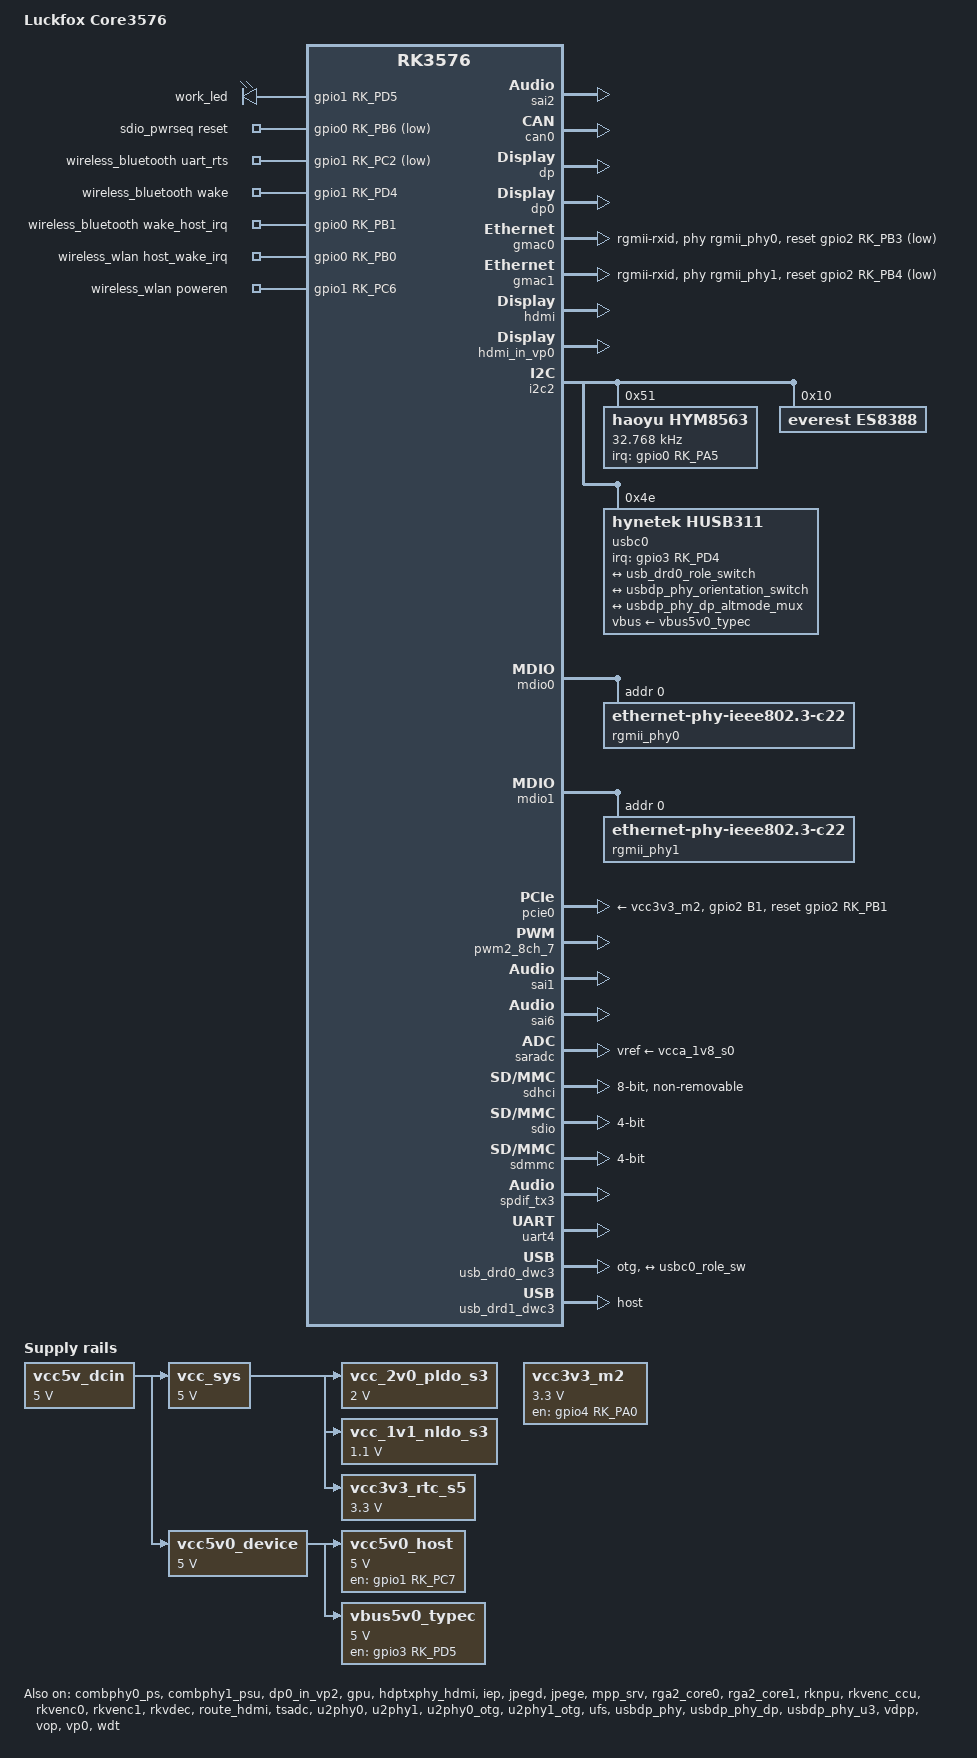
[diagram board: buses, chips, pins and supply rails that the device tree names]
// SPDX-License-Identifier: (GPL-2.0+ OR MIT)
/*
 * Copyright (c) 2024 Rockchip Electronics Co., Ltd.
 * Copyright (c) 2026 Byte Lab Grupa d.o.o.
 */

/dts-v1/;

#include <dt-bindings/display/rockchip_vop.h>
#include <dt-bindings/gpio/gpio.h>
#include <dt-bindings/leds/common.h>
#include <dt-bindings/pinctrl/rockchip.h>
#include <dt-bindings/pwm/pwm.h>
#include <dt-bindings/usb/pd.h>

#include "rk3576.dtsi"
#include "rk3576-rk806.dtsi"
#include "rk3576-linux.dtsi"
#include "rk3576-luckfox-omni3576-camera.dtsi"

/ {
	model = "Luckfox Core3576";
	compatible = "luckfox,core3576","rockchip,rk3576";

	/delete-node/ chosen;

    	es8388_sound: es8388-sound {
		status = "okay";
		compatible = "rockchip,multicodecs-card";
		rockchip,card-name = "rockchip-es8388";
		rockchip,format = "i2s";
		rockchip,mclk-fs = <256>;
		rockchip,cpu = <&sai1>;
		rockchip,codec = <&es8388>;
		rockchip,audio-routing =
			"Headphone", "LOUT1",
			"Headphone", "ROUT1",
			"Speaker", "LOUT1",
			"Speaker", "ROUT1",
			"LINPUT2", "Main Mic",
			"RINPUT2", "Main Mic",
			"LINPUT2", "Headset Mic",
			"RINPUT2", "Headset Mic";
	};

	/*
	dp0_sound: dp0-sound {
		compatible = "rockchip,hdmi";
		rockchip,mclk-fs = <512>;
		rockchip,card-name = "rockchip-dp0";
		rockchip,cpu = <&spdif_tx3>;
		rockchip,codec = <&dp0 1>;
		rockchip,jack-det;
	};

	es8388_sound: es8388-sound {
		status = "okay";
		compatible = "simple-audio-card";
		simple-audio-card,format = "i2s";
		simple-audio-card,mclk-fs = <256>;
		simple-audio-card,name = "rockchip,es8388-codec";
		simple-audio-card,dai-link@0 {
			format = "i2s";
			cpu {
				sound-dai = <&sai1>;
			};
			codec {
				sound-dai = <&es8388>;
			};
		};
	};

	hdmi_sound: hdmi-sound {
		compatible = "rockchip,hdmi";
		rockchip,mclk-fs = <128>;
		rockchip,card-name = "rockchip-hdmi";
		rockchip,cpu = <&sai6>;
		rockchip,codec = <&hdmi>;
		rockchip,jack-det;
	};
	 */

	leds: leds {
		compatible = "gpio-leds";
		work_led: work{
			gpios = <&gpio1 RK_PD5 GPIO_ACTIVE_HIGH>;
			linux,default-trigger = "activity";
			default-state = "on";
		};
	};


	sdio_pwrseq: sdio-pwrseq {
		compatible = "mmc-pwrseq-simple";
		pinctrl-names = "default";
		pinctrl-0 = <&wifi_poweren_gpio>;

		/*
		 * On the module itself this is one of these (depending
		 * on the actual card populated):
		 * - SDIO_RESET_L_WL_REG_ON
		 * - PDN (power down when low)
		 */
		post-power-on-delay-ms = <200>;
		reset-gpios = <&gpio1 RK_PC6 GPIO_ACTIVE_LOW>;
	};

	sdio_pwrseq: sdio-pwrseq {
		compatible = "mmc-pwrseq-simple";
		pinctrl-names = "default";
		pinctrl-0 = <&wifi_poweren_gpio>;

		/*
		 * On the module itself this is one of these (depending
		 * on the actual card populated):
		 * - SDIO_RESET_L_WL_REG_ON
		 * - PDN (power down when low)
		 */
		post-power-on-delay-ms = <200>;
		reset-gpios = <&gpio0 RK_PB6 GPIO_ACTIVE_LOW>;
		status = "okay";
	};

	vcc5v_dcin: vcc5v-dcin {
		compatible = "regulator-fixed";
		regulator-name = "vcc5v_dcin";
		regulator-always-on;
		regulator-boot-on;
		regulator-min-microvolt = <5000000>;
		regulator-max-microvolt = <5000000>;
	};

	vcc_sys: vcc5v0-sys {
		compatible = "regulator-fixed";
		regulator-name = "vcc_sys";
		regulator-always-on;
		regulator-boot-on;
		regulator-min-microvolt = <5000000>;
		regulator-max-microvolt = <5000000>;
		vin-supply = <&vcc5v_dcin>;
	};

	vcc5v0_host: vcc5v0-host {
		compatible = "regulator-fixed";
		regulator-name = "vcc5v0_host";
		regulator-boot-on;
		regulator-always-on;
		regulator-min-microvolt = <5000000>;
		regulator-max-microvolt = <5000000>;
		enable-active-high;
		gpio = <&gpio1 RK_PC7 GPIO_ACTIVE_HIGH>;
		vin-supply = <&vcc5v0_device>;
		pinctrl-names = "default";
		pinctrl-0 = <&usb_host_pwren>;
	};

	vcc5v0_device: vcc5v0-device {
		compatible = "regulator-fixed";
		regulator-name = "vcc5v0_device";
		regulator-always-on;
		regulator-boot-on;
		regulator-min-microvolt = <5000000>;
		regulator-max-microvolt = <5000000>;
		vin-supply = <&vcc5v_dcin>;
	};

	vbus5v0_typec: vbus5v0-typec {
		compatible = "regulator-fixed";
		regulator-name = "vbus5v0_typec";
		regulator-min-microvolt = <5000000>;
		regulator-max-microvolt = <5000000>;
		enable-active-high;
		gpio = <&gpio3 RK_PD5 GPIO_ACTIVE_HIGH>;
		vin-supply = <&vcc5v0_device>;
		pinctrl-names = "default";
		pinctrl-0 = <&usb_otg0_pwren>;
	};

	vcc_2v0_pldo_s3: vcc-2v0-pldo-s3 {
		compatible = "regulator-fixed";
		regulator-name = "vcc_2v0_pldo_s3";
		regulator-boot-on;
		regulator-always-on;
		regulator-min-microvolt = <2000000>;
		regulator-max-microvolt = <2000000>;
		vin-supply = <&vcc_sys>;
	};

	vcc_1v1_nldo_s3: vcc-1v1-nldo-s3 {
		compatible = "regulator-fixed";
		regulator-name = "vcc_1v1_nldo_s3";
		regulator-boot-on;
		regulator-always-on;
		regulator-min-microvolt = <1100000>;
		regulator-max-microvolt = <1100000>;
		vin-supply = <&vcc_sys>;
	};

	vcc3v3_rtc_s5: vcc3v3-rtc-s5 {
		compatible = "regulator-fixed";
		regulator-name = "vcc3v3_rtc_s5";
		regulator-boot-on;
		regulator-always-on;
		regulator-min-microvolt = <3300000>;
		regulator-max-microvolt = <3300000>;
		vin-supply = <&vcc_sys>;
	};

	vcc3v3_m2: vcc3v3-m2 {
		compatible = "regulator-fixed";
		regulator-name = "vcc3v3_m2";
		gpio = <&gpio4 RK_PA0 GPIO_ACTIVE_HIGH>;
		pinctrl-names = "default";
		pinctrl-0 = <&pcie_poweren_gpio>;
		enable-active-high;
		regulator-always-on;
		regulator-boot-on;
		regulator-min-microvolt = <3300000>;
		regulator-max-microvolt = <3300000>;
		startup-delay-us = <1000>;
	};

	wireless_bluetooth: wireless-bluetooth {
		compatible = "bluetooth-platdata";
		uart_rts_gpios = <&gpio1 RK_PC2 GPIO_ACTIVE_LOW>;
		pinctrl-names = "default", "rts_gpio";
		pinctrl-0 = <&uart4m1_rtsn>;
		pinctrl-1 = <&uart4_gpios>;
		BT,wake_gpio     = <&gpio1 RK_PD4 GPIO_ACTIVE_HIGH>;
		BT,wake_host_irq = <&gpio0 RK_PB1 GPIO_ACTIVE_HIGH>;
		status = "okay";
	};

	wireless_wlan: wireless-wlan {
		compatible = "wlan-platdata";
		pinctrl-names = "default";
		pinctrl-0 = <&wifi_host_wake_irq &wifi_poweren_gpio>;
		WIFI,host_wake_irq = <&gpio0 RK_PB0 GPIO_ACTIVE_HIGH>; // WIFI_WAKE_HOST_H
		WIFI,poweren_gpio = <&gpio1 RK_PC6 GPIO_ACTIVE_HIGH>;

		status = "okay";
	};
	bt_sco: bt-sco {
		status = "okay";

		compatible = "delta,dfbmcs320";
		#sound-dai-cells = <1>;
	};

	bt_sound: bt-sound {
		status = "okay";

		compatible = "simple-audio-card";
		simple-audio-card,format = "dsp_a";
		simple-audio-card,mclk-fs = <256>;
		simple-audio-card,name = "rockchip,bt";
		simple-audio-card,cpu {
			sound-dai = <&sai2>;
		};
		simple-audio-card,codec {
			sound-dai = <&bt_sco 1>;
		};
	};
};

&sai2 {
	status = "okay";
};

&can0 {
	assigned-clocks = <&cru CLK_CAN0>;
	assigned-clock-rates = <200000000>;
	pinctrl-names = "default";
	pinctrl-0 = <&can0m2_pins>;
	status = "okay";
};

&combphy0_ps {
	status = "okay";
};

&combphy1_psu {
	status = "okay";
};

&combphy0_ps {
	status = "okay";
};

&combphy1_psu {
	status = "okay";
};

&cpu_l0 {
	cpu-supply = <&vdd_cpu_lit_s0>;
};

&cpu_b0 {
	cpu-supply = <&vdd_cpu_big_s0>;
};

&display_subsystem {
	clocks = <&hdptxphy_hdmi>;
	clock-names = "hdmi0_phy_pll";
};

&dp {
	status = "okay";
};

&dp0 {
	status = "okay";
};

&dp0_in_vp2 {
	status = "okay";
};

&gmac0 {
	/* Use rgmii-rxid mode to disable rx delay inside Soc */
	phy-mode = "rgmii-rxid";
	clock_in_out = "output";

	snps,reset-gpio = <&gpio2 RK_PB3 GPIO_ACTIVE_LOW>;
	snps,reset-active-low;
	/* Reset time is 20ms, 100ms for rtl8211f */
	snps,reset-delays-us = <0 20000 100000>;

	pinctrl-names = "default";
	pinctrl-0 = <&eth0m0_miim
			 &eth0m0_tx_bus2
			 &eth0m0_rx_bus2
			 &eth0m0_rgmii_clk
			 &eth0m0_rgmii_bus
			 &ethm0_clk0_25m_out>;

	tx_delay = <0x20>;
	/* rx_delay = <0x3f>; */

	phy-handle = <&rgmii_phy0>;
	status = "okay";
};

&gmac1 {
	/* Use rgmii-rxid mode to disable rx delay inside Soc */
	phy-mode = "rgmii-rxid";
	clock_in_out = "output";

	snps,reset-gpio = <&gpio2 RK_PB4 GPIO_ACTIVE_LOW>;
	snps,reset-active-low;
	/* Reset time is 20ms, 100ms for rtl8211f */
	snps,reset-delays-us = <0 20000 100000>;

	pinctrl-names = "default";
	pinctrl-0 = <&eth1m0_miim
		     &eth1m0_tx_bus2
		     &eth1m0_rx_bus2
		     &eth1m0_rgmii_clk
		     &eth1m0_rgmii_bus
		     &ethm0_clk1_25m_out>;

	tx_delay = <0x20>;
	/* rx_delay = <0x3f>; */

	phy-handle = <&rgmii_phy1>;
	status = "okay";
};

&gpu {
	mali-supply = <&vdd_gpu_s0>;
	status = "okay";
};

&hdmi {
	enable-gpios = <&gpio4 RK_PC6 GPIO_ACTIVE_HIGH>;
	rockchip,sda-falling-delay-ns = <360>;
	status = "okay";

};

&hdmi_in_vp0 {
	status = "okay";
};

&hdptxphy_hdmi {
	status = "okay";
};

/*
&i2c0 {
	status = "okay";
	pinctrl-0 = <&i2c0m1_xfer>;
	usbc1: fusb302@22 {
		compatible = "fcs,fusb302";
		reg = <0x22>;
		interrupt-parent = <&gpio0>;
		interrupts = <RK_PC3 IRQ_TYPE_LEVEL_LOW>;
		int-n-gpios = <&gpio0 RK_PC3 GPIO_ACTIVE_LOW>;
		pinctrl-names = "default";
		pinctrl-0 = <&usbc1_int>;
		vbus-supply = <&vbus5v0_typec>;
		status = "okay";
		usb_con1: connector {
			compatible = "usb-c-connector";
			label = "USB-C";
			data-role = "dual";
			power-role = "dual";
			try-power-role = "sink";
			op-sink-microwatt = <1000000>;
			sink-pdos =
				<PDO_FIXED()
				 PDO_FIXED(9000, 3000, PDO_FIXED_USB_COMM)
				 PDO_FIXED(12000, 3000, PDO_FIXED_USB_COMM)>;
			source-pdos =
				<PDO_FIXED(5000, 3000, PDO_FIXED_USB_COMM)>;
			altmodes {
				#address-cells = <1>;
				#size-cells = <0>;
				altmode@0 {
					reg = <0>;
					svid = <0xff01>;
					vdo = <0xffffffff>;
				};
			};
		};
	};
};
 */


&i2c2 {
	status = "okay";
	pinctrl-0 = <&i2c2m0_xfer>;

	hym8563: hym8563@51 {
		compatible = "haoyu,hym8563";
		reg = <0x51>;
		#clock-cells = <0>;
		clock-frequency = <32768>;
		clock-output-names = "hym8563";
		pinctrl-names = "default";
		pinctrl-0 = <&hym8563_int>;
		interrupt-parent = <&gpio0>;
		interrupts = <RK_PA5 IRQ_TYPE_LEVEL_LOW>;
		wakeup-source;
	};

	es8388: es8388@10 {
		status = "okay";
		#sound-dai-cells = <0>;
		compatible = "everest,es8388", "everest,es8323";
		reg = <0x10>;
		clocks = <&mclkout_sai1>;
		clock-names = "mclk";
		assigned-clocks = <&mclkout_sai1>;
		assigned-clock-rates = <12288000>;
		pinctrl-names = "default";
		pinctrl-0 = <&sai1m0_mclk>;
	};

	usbc0: husb311@4e {
		compatible = "hynetek,husb311";
		reg = <0x4e>;
		interrupt-parent = <&gpio3>;
		interrupts = <RK_PD4 IRQ_TYPE_LEVEL_LOW>;
		pinctrl-names = "default";
		pinctrl-0 = <&usbc0_int>;
		vbus-supply = <&vbus5v0_typec>;
		status = "okay";

		port {
			usbc0_role_sw: endpoint {
				remote-endpoint = <&usb_drd0_role_switch>;
			};
		};

		usb_con: connector {
			compatible = "usb-c-connector";
			label = "USB-C";
			data-role = "dual";
			power-role = "dual";
			try-power-role = "sink";
			op-sink-microwatt = <1000000>;
			sink-pdos =
				<PDO_FIXED(5000, 1000, PDO_FIXED_USB_COMM)>;
			source-pdos =
				<PDO_FIXED(5000, 3000, PDO_FIXED_USB_COMM)>;

			altmodes {
				#address-cells = <1>;
				#size-cells = <0>;

				altmode@0 {
					reg = <0>;
					svid = <0xff01>;
					vdo = <0xffffffff>;
				};
			};

			ports {
				#address-cells = <1>;
				#size-cells = <0>;

				port@0 {
					reg = <0>;
					usbc0_orien_sw: endpoint {
						remote-endpoint = <&usbdp_phy_orientation_switch>;
					};
				};

				port@1 {
					reg = <1>;
					dp_altmode_mux: endpoint {
						remote-endpoint = <&usbdp_phy_dp_altmode_mux>;
					};
				};
			};
		};
	};
};

/*
&i2c3 {
	status = "okay";

	es8388: es8388@10 {
		status = "okay";
		#sound-dai-cells = <0>;
		compatible = "everest,es8388", "everest,es8323";
		reg = <0x10>;
		clocks = <&mclkout_sai1>;
		clock-names = "mclk";
		assigned-clocks = <&mclkout_sai1>;
		assigned-clock-rates = <12288000>;
		pinctrl-names = "default";
		pinctrl-0 = <&sai1m0_mclk>;
	};
};
 */

&iep {
	status = "okay";
};

&iep_mmu {
	status = "okay";
};

&jpegd {
	status = "okay";
};

&jpege {
	status = "okay";
};

&jpeg_mmu {
	status = "okay";
};

&mdio0 {
	rgmii_phy0: phy@1 {
		compatible = "ethernet-phy-ieee802.3-c22";
		reg = <0x0>;
		clocks = <&cru REFCLKO25M_GMAC0_OUT>;

	};
};

&mdio1 {
	rgmii_phy1: phy@1 {
		compatible = "ethernet-phy-ieee802.3-c22";
		reg = <0x0>;
		clocks = <&cru REFCLKO25M_GMAC1_OUT>;
	};
};

&mpp_srv {
	status = "okay";
};

&pcie0 {
	vpcie3v3-supply = <&vcc3v3_m2>;
	// rockchip,skip-scan-in-resume;
	reset-gpios = <&gpio2 RK_PB1 GPIO_ACTIVE_HIGH>;
	pinctrl-0 = <&pcie_rst_gpio>;
	pinctrl-names = "default";
	status = "okay";
};

&pinctrl {
	hym8563 {
		hym8563_int: hym8563-int {
			rockchip,pins = <0 RK_PA4 RK_FUNC_GPIO &pcfg_pull_up>;
		};
	};

	cam {
		cam0_reset_gpio: cam0-reset-gpio {
			rockchip,pins =	<3 RK_PD7 RK_FUNC_GPIO &pcfg_pull_up>;
		};

		cam1_reset_gpio: cam1-reset-gpio {
			rockchip,pins = <3 RK_PC7 RK_FUNC_GPIO &pcfg_pull_up>;
		};
	};

	wireless-bluetooth {
		uart4_gpios: uart4-gpios {
			rockchip,pins = <1 RK_PC2 RK_FUNC_GPIO &pcfg_pull_none>;
		};
	};

	wireless-wlan {
		wifi_host_wake_irq: wifi-host-wake-irq {
			rockchip,pins = <0 RK_PB0 RK_FUNC_GPIO &pcfg_pull_down>;
		};

		wifi_poweren_gpio: wifi-poweren-gpio {
			rockchip,pins = <1 RK_PC6 RK_FUNC_GPIO &pcfg_pull_up>;
		};
	};

	usb {
		usb_host_pwren: usb-host-pwren {
			rockchip,pins = <1 RK_PC7 RK_FUNC_GPIO &pcfg_pull_none>;
		};

		usb_otg0_pwren: usb-otg0-pwren {
			rockchip,pins = <3 RK_PD5 RK_FUNC_GPIO &pcfg_pull_none>;
		};

		usbc0_int: usbc0-int {
			rockchip,pins = <3 RK_PD4 RK_FUNC_GPIO &pcfg_pull_up>;
		};
	};

	pcie {
		pcie_poweren_gpio: pcie-poweren-gpio {
			rockchip,pins = <4 RK_PA0 RK_FUNC_GPIO &pcfg_pull_up>;
		};
		pcie_wake_irq: pcie-wake-irq {
			rockchip,pins = <0 RK_PD2 RK_FUNC_GPIO &pcfg_pull_up>;
		};
		pcie_rst_gpio: pcie-rst-gpio {
			rockchip,pins = <2 RK_PB1 RK_FUNC_GPIO &pcfg_pull_up>;
		};
	};

	/*
	headphone {
		hp_det: hp-det {
			rockchip,pins = <0 RK_PD3 RK_FUNC_GPIO &pcfg_pull_up>;
		};
	};

	leds {
		led_rgb_r: led-red-en {
			rockchip,pins = <4 RK_PB1 RK_FUNC_GPIO &pcfg_pull_none>;
		};
		led_rgb_g: led-green-en {
			rockchip,pins = <4 RK_PB2 RK_FUNC_GPIO &pcfg_pull_none>;
		};
	};

	usb {

		usb_otg0_pwren: usb-otg0-pwren {
			rockchip,pins = <4 RK_PA6 RK_FUNC_GPIO &pcfg_pull_none>;
		};

		usbc0_int: usbc0-int {
			rockchip,pins = <0 RK_PA5 RK_FUNC_GPIO &pcfg_pull_up>;
		};

		usbc1_int: usbc1-int es8388{
			rockchip,pins = <0 RK_PC3 RK_FUNC_GPIO &pcfg_pull_up>;
		};
	};
	 */
};

/*
&pwm0_2ch_0 {
	compatible = "rockchip,remotectl-pwm-v4";
	pinctrl-names = "default";
	pinctrl-0 = <&pwm0m0_ch0>;
	remote_pwm_id = <0>;
	handle_cpu_id = <1>;
	remote_support_psci = <0>;
	status = "okay";

	ir_key1 {
		rockchip,usercode = <0xbf00>;
		rockchip,key_table =
			<0xb7	KEY_BACK>,
			<0xe9	KEY_UP>,
			<0xe8	KEY_DOWN>,
			<0xe6	KEY_LEFT>,
			<0xe7	KEY_RIGHT>,
			<0x6b	KEY_HOME>,
			<0xbb	KEY_VOLUMEUP>,
			<0xbc	KEY_VOLUMEDOWN>,
			<0xf2	KEY_POWER>,
			<0xea	KEY_ENTER>,
			<0xeb	KEY_MENU>;
	};
};
 */

&pwm2_8ch_7 {
	status = "okay";
	pinctrl-0 = <&pwm2m3_ch7>;
};

&rga2_core0 {
	status = "okay";
};

&rga2_core0_mmu {
	status = "okay";
};

&rga2_core1 {
	status = "okay";
};

&rga2_core1_mmu {
	status = "okay";
};

&rknpu {
	rknpu-supply = <&vdd_npu_s0>;
	status = "okay";
};

&rknpu_mmu {
	status = "okay";
};

&rkvenc_ccu {
	status = "okay";
};

&rkvenc0 {
	status = "okay";
};

&rkvenc0_mmu {
	status = "okay";
};

&rkvenc1 {
	status = "okay";
};

&rkvenc1_mmu {
	status = "okay";

};

&rkvdec {
	status = "okay";
};

&rkvdec_mmu {
	status = "okay";
};

&rockchip_suspend {
	status = "okay";

	rockchip,sleep-debug-en = <1>;
	rockchip,sleep-io-ret-config = <
		(0
		| RKPM_VCCIO3_RET_EN
		)
	>;
};

&route_hdmi {
	status = "okay";
	connect = <&vp0_out_hdmi>;
};

&sai1 {
	status = "okay";
	pinctrl-names = "default";
	pinctrl-0 = <&sai1m0_lrck
		     &sai1m0_sclk
		     &sai1m0_sdi0
		     &sai1m0_sdo0>;
};

&sai6 {
	status = "okay";
};

&saradc {
	status = "okay";
	vref-supply = <&vcca_1v8_s0>;
};

&sdhci {
	bus-width = <8>;
	no-sdio;
	no-sd;
	non-removable;
	max-frequency = <200000000>;
	mmc-hs400-1_8v;
	mmc-hs400-enhanced-strobe;
	full-pwr-cycle-in-suspend;
	status = "okay";
};

&sdio {
	max-frequency = <200000000>;
	no-sd;
	no-mmc;
	bus-width = <4>;
	disable-wp;
	cap-sd-highspeed;
	cap-sdio-irq;
	keep-power-in-suspend;
	pinctrl-names = "default";
	pinctrl-0 = <&sdmmc1m0_bus4 &sdmmc1m0_clk &sdmmc1m0_cmd>;
	sd-uhs-sdr104;
	status = "okay";
};

&sdmmc {
	max-frequency = <150000000>;
	no-sdio;
	no-mmc;
	bus-width = <4>;
	cap-mmc-highspeed;
	cap-sd-highspeed;
	disable-wp;
	sd-uhs-sdr104;
	mmc-pwrseq = <&sdio_pwrseq>;
	vqmmc-supply = <&vccio_sd_s0>;
	status = "okay";
};

&spdif_tx3 {
	status = "okay";
};

&tsadc {
	status = "okay";
};

&u2phy0 {
	status = "okay";
};

&u2phy1 {
	status = "okay";
};

&u2phy0_otg {
	rockchip,typec-vbus-det;
	status = "okay";
};

&u2phy1_otg {
	phy-supply = <&vcc5v0_host>;
	status = "okay";
};

&uart4 {
	status = "okay";
	pinctrl-names = "default";
	pinctrl-0 = <&uart4m1_xfer &uart4m1_ctsn>;
};

&ufs {
	reset-gpios = <&gpio4 RK_PD0 GPIO_ACTIVE_HIGH>;
	status = "okay";
};

&usbdp_phy {
	status = "okay";
	orientation-switch;
	svid = <0xff01>;
	sbu1-dc-gpios = <&gpio4 RK_PC4 GPIO_ACTIVE_HIGH>;
	sbu2-dc-gpios = <&gpio4 RK_PC5 GPIO_ACTIVE_HIGH>;

	port {
		#address-cells = <1>;
		#size-cells = <0>;

		usbdp_phy_orientation_switch: endpoint@0 {
			reg = <0>;
			remote-endpoint = <&usbc0_orien_sw>;
		};

		usbdp_phy_dp_altmode_mux: endpoint@1 {
			reg = <1>;
			remote-endpoint = <&dp_altmode_mux>;
		};
	};
};

&usbdp_phy_dp {
	status = "okay";
};

&usbdp_phy_u3 {
	status = "okay";
};

&usb_drd0_dwc3 {
	dr_mode = "otg";
	usb-role-switch;
	status = "okay";
	port {
		usb_drd0_role_switch: endpoint {
			remote-endpoint = <&usbc0_role_sw>;
		};
	};
};

&usb_drd1_dwc3 {
	dr_mode = "host";
	status = "okay";
};

&vdpp {
	status = "okay";
};

&vop {
	status = "okay";
	/* vop-supply = <&vdd_logic_s0>; */
};

&vop_mmu {
	status = "okay";
};

&vp0 {
	status = "okay";
};

&vp2 {
	assigned-clocks = <&cru DCLK_VP2_SRC>;
	assigned-clock-parents = <&cru PLL_VPLL>;
};

/* watchdog */
&wdt {
	status = "okay";
};
